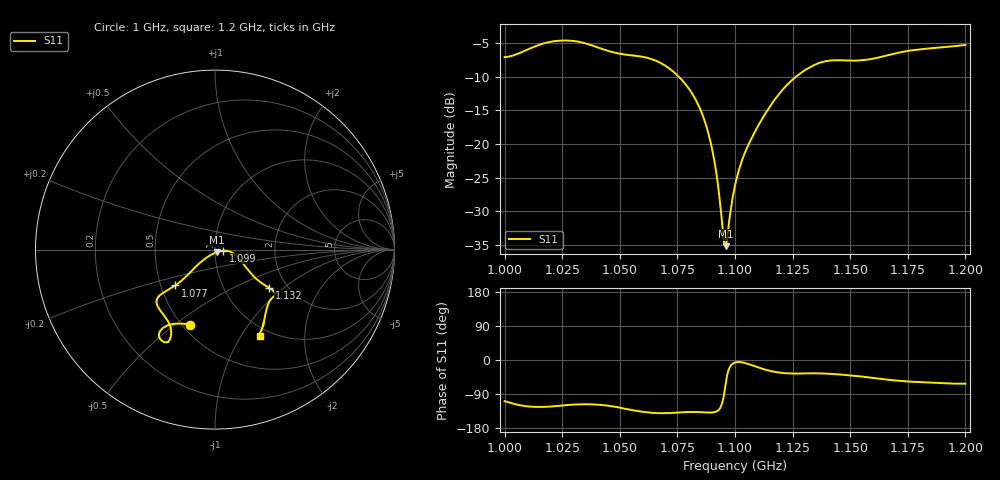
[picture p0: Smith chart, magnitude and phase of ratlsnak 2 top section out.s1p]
! NanoVNA-App
! Date: 2026-05-22 22:07:01
! Start: 1GHz Stop: 1.2GHz Points: 401
! S-Parameter data: F S11
# Hz S RI R 50
!  Frequency  S11_Real  S11_Imag
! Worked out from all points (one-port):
!   401 points, 1 GHz to 1.2 GHz, reference 50 ohm
!   lowest |S11| = -35.2 dB at 1.096 GHz (marker M1), VSWR 1.04, Z = 50.8 - j1.55 ohm
!   |S11| at or under -10 dB: 1.076 GHz to 1.126 GHz (50.8 MHz wide, 4.61 % of centre)
!   S11 on the Smith chart (normalised r, x): 1 GHz: 0.54, -0.57; 1.077 GHz: 0.59, -0.26; 1.099 GHz: 1.09, -0.01; 1.132 GHz: 1.62, -0.79; 1.2 GHz: 0.88, -1.22
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1e9  -0.1409 -0.4194
1.0135e9  -0.297 -0.4438
1.025e9  -0.2935 -0.5093
1.0345e9  -0.2533 -0.5031
1.0425e9  -0.2455 -0.4441
1.05e9  -0.2744 -0.3805
1.063e9  -0.3253 -0.2847
1.069e9  -0.299 -0.2484
1.075e9  -0.2435 -0.2135
1.077e9  -0.222 -0.2
1.0835e9  -0.1501 -0.1388
1.088e9  -0.0964 -0.0847
1.091e9  -0.0557 -0.0509
1.0925e9  -0.0356 -0.0371
1.095e9  -0.0033 -0.0198
1.096e9  0.00845 -0.0152
1.097e9  0.0196 -0.0114
1.0995e9  0.0442 -0.00615
1.1e9  0.0488 -0.00553
1.1035e9  0.0791 -0.00932
1.109e9  0.1209 -0.0372
1.117e9  0.1813 -0.1086
1.125e9  0.2454 -0.175
1.132e9  0.3009 -0.2119
1.1395e9  0.3347 -0.2427
1.15e9  0.3166 -0.2712
1.175e9  0.2705 -0.4111
1.2e9  0.2511 -0.4838
